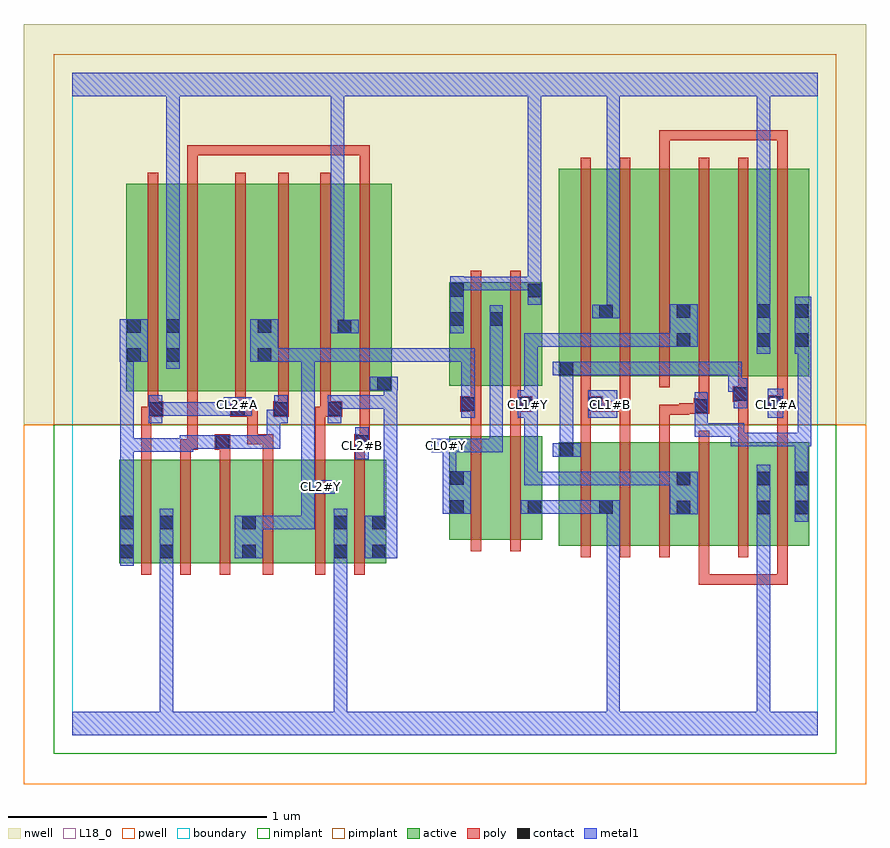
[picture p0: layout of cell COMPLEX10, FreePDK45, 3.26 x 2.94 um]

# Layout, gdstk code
import gdstk
lib = gdstk.Library(unit=1e-6, precision=1e-09)
def R(c, l, rs):  # rectangles x0, y0, x1, y1
    for r in rs: c.add(gdstk.rectangle(r[:2], r[2:], *l))
def A(c, l, x, y, w, h, nx, ny, dx, dy):  # array of equal rectangles
    R(c, l, [(x+i*dx, y+j*dy, x+i*dx+w, y+j*dy+h) for i in range(nx) for j in range(ny)])
active = (1, 0)
pwell = (2, 0)
nwell = (3, 0)
nimplant = (4, 0)
pimplant = (5, 0)
poly = (9, 0)
contact = (10, 0)
metal1 = (11, 0)
L18_0 = (18, 0)
boundary = (235, 0)

complex10 = lib.new_cell('COMPLEX10')
R(complex10, active, [(0.182,0.664,0.242,1.064), (0.182,0.664,0.394,1.064), (0.334,0.664,0.514,1.064), (0.334,0.664,0.394,0.852), (0.514,0.664,0.712,1.064), (0.652,0.664,0.712,1.064), (0.652,0.664,0.882,1.064), (0.882,0.664,1.066,1.064), (1.006,0.664,1.066,1.064), (1.006,0.664,1.214,1.064), (1.154,0.664,1.214,1.064), (1.88,0.732,2.092,1.132), (2.032,0.732,2.212,1.132), (2.032,0.732,2.092,0.936), (2.212,0.732,2.392,1.132), (2.332,0.732,2.516,1.132), (2.332,0.732,2.392,1.022), (2.516,0.732,2.7,1.132), (2.64,0.732,2.848,1.132), (2.788,0.732,2.848,1.132), (1.456,0.756,1.516,1.156), (1.456,0.756,1.636,1.156), (1.636,0.756,1.816,1.156), (1.756,0.756,1.816,0.948), (1.88,0.756,1.94,1.132), (2.64,0.756,2.7,1.022), (0.208,1.33,0.42,2.13), (0.208,1.33,0.268,2.044), (0.36,1.33,0.54,2.13), (0.36,1.33,0.42,2.13), (0.54,1.33,0.772,2.13), (0.712,1.33,0.892,2.13), (0.712,1.33,0.772,2.044), (0.892,1.33,1.082,2.13), (1.022,1.33,1.234,2.13), (1.174,1.33,1.234,2.044), (1.456,1.35,1.668,1.75), (1.608,1.35,1.816,1.75), (1.88,1.388,1.94,2.044), (1.88,1.388,2.092,2.188), (2.032,1.388,2.212,2.188), (2.212,1.388,2.392,2.188), (2.332,1.388,2.392,2.044), (2.332,1.388,2.516,2.188), (2.516,1.388,2.7,2.188), (2.64,1.388,2.848,2.188), (2.788,1.388,2.848,2.044), (1.022,1.432,1.082,2.044), (1.456,1.452,1.516,1.75), (1.756,1.452,1.816,1.748), (2.64,1.454,2.7,2.044), (2.032,1.466,2.092,2.044), (1.608,1.578,1.668,1.644)])
R(complex10, pwell, [(-0.188,-0.188,3.068,1.2)])
R(complex10, nwell, [(-0.188,1.2,3.068,2.748)])
R(complex10, nimplant, [(-0.072,-0.072,2.952,1.2)])
R(complex10, pimplant, [(-0.072,1.2,2.952,2.632)])
A(complex10, poly, 0.266, 0.62, 0.04, 0.488, 3, 1, 0.152, 0)
A(complex10, poly, 1.964, 0.688, 0.04, 0.488, 6, 1, 0.152, 0)
A(complex10, poly, 1.964, 1.344, 0.04, 0.888, 6, 1, 0.152, 0)
R(complex10, poly, [(2.42,0.582,2.46,0.728), (2.42,0.582,2.46,0.622), (2.42,0.582,2.624,0.622), (2.584,0.582,2.624,0.622), (2.584,0.582,2.624,0.622), (2.584,0.582,2.624,0.622), (2.584,0.582,2.764,0.622), (2.724,0.582,2.764,0.728), (2.724,0.582,2.764,0.622), (2.724,0.582,2.764,0.622), (2.724,0.582,2.764,0.622), (0.736,0.62,0.776,1.108), (0.938,0.62,0.978,1.108), (1.09,0.62,1.13,1.108), (1.54,0.712,1.58,1.2), (1.692,0.712,1.732,1.2), (0.266,1.068,0.306,1.27), (0.418,1.068,0.458,1.144), (0.57,1.068,0.61,1.144), (0.736,1.068,0.776,1.164), (0.938,1.068,0.978,1.27), (1.09,1.068,1.13,1.144), (0.418,1.104,0.458,1.144), (0.418,1.104,0.458,1.144), (0.418,1.104,0.484,1.144), (0.444,1.104,0.484,1.326), (0.55,1.104,0.61,1.164), (1.09,1.104,1.15,1.164), (0.676,1.124,0.716,1.27), (0.676,1.124,0.716,1.164), (0.676,1.124,0.776,1.164), (0.736,1.124,0.776,1.164), (1.11,1.124,1.15,1.164), (1.11,1.124,1.15,1.164), (1.11,1.124,1.15,1.326), (1.964,1.136,2.004,1.29), (2.116,1.136,2.156,1.29), (2.268,1.136,2.308,1.278), (2.572,1.136,2.612,1.328), (2.724,1.136,2.764,1.294), (1.54,1.16,1.58,1.29), (1.692,1.16,1.732,1.29), (0.266,1.23,0.332,1.27), (0.292,1.23,0.332,1.27), (0.292,1.23,0.352,1.29), (0.61,1.23,0.67,1.29), (0.63,1.23,0.716,1.27), (0.676,1.23,0.716,1.27), (0.776,1.23,0.836,1.29), (0.938,1.23,0.998,1.27), (0.958,1.23,0.998,1.27), (0.958,1.23,1.044,1.29), (2.268,1.238,2.308,1.278), (2.268,1.238,2.384,1.278), (2.344,1.238,2.384,1.282), (2.344,1.242,2.44,1.282), (2.4,1.242,2.46,1.302), (0.292,1.25,0.332,1.326), (0.63,1.25,0.67,1.326), (0.796,1.25,0.836,1.326), (0.958,1.25,0.998,1.326), (1.498,1.25,1.58,1.31), (1.54,1.25,1.58,1.29), (1.54,1.25,1.58,1.29), (1.692,1.25,1.778,1.31), (1.964,1.25,2.05,1.31), (2.01,1.25,2.156,1.29), (2.116,1.25,2.156,1.29), (2.116,1.25,2.156,1.29), (2.116,1.25,2.156,1.29), (2.116,1.25,2.156,1.29), (2.116,1.25,2.156,1.29), (2.116,1.25,2.156,1.384), (2.69,1.254,2.764,1.314), (2.724,1.254,2.764,1.294), (2.724,1.254,2.764,1.294), (2.42,1.262,2.46,1.302), (2.42,1.262,2.46,1.302), (2.42,1.262,2.46,1.384), (1.54,1.27,1.58,1.346), (1.692,1.27,1.732,1.31), (1.692,1.27,1.732,1.31), (1.692,1.27,1.732,1.346), (1.964,1.27,2.004,1.31), (1.964,1.27,2.004,1.31), (1.964,1.27,2.004,1.384), (2.724,1.274,2.764,1.384), (0.292,1.286,0.332,2.174), (0.444,1.286,0.484,2.174), (0.63,1.286,0.67,2.174), (0.796,1.286,0.836,2.174), (0.958,1.286,0.998,2.174), (1.11,1.286,1.15,2.174), (2.552,1.288,2.612,1.348), (2.572,1.288,2.612,1.328), (2.572,1.288,2.612,1.328), (1.54,1.306,1.58,1.794), (1.692,1.306,1.732,1.794), (2.572,1.308,2.612,1.384), (0.444,2.134,0.484,2.28), (1.11,2.134,1.15,2.28), (2.268,2.192,2.308,2.338), (2.724,2.192,2.764,2.338), (0.444,2.24,0.484,2.28), (0.444,2.24,0.484,2.28), (0.444,2.24,0.484,2.28), (0.444,2.24,0.67,2.28), (0.63,2.24,0.67,2.28), (0.63,2.24,0.67,2.28), (0.63,2.24,0.67,2.28), (0.63,2.24,0.822,2.28), (0.782,2.24,0.822,2.28), (0.782,2.24,0.822,2.28), (0.782,2.24,0.822,2.28), (0.782,2.24,1.024,2.28), (0.984,2.24,1.024,2.28), (0.984,2.24,1.15,2.28), (1.11,2.24,1.15,2.28), (1.11,2.24,1.15,2.28), (1.11,2.24,1.15,2.28), (2.268,2.298,2.308,2.338), (2.268,2.298,2.308,2.338), (2.268,2.298,2.308,2.338), (2.268,2.298,2.414,2.338), (2.374,2.298,2.414,2.338), (2.374,2.298,2.566,2.338), (2.526,2.298,2.566,2.338), (2.526,2.298,2.566,2.338), (2.526,2.298,2.566,2.338), (2.526,2.298,2.764,2.338), (2.724,2.298,2.764,2.338), (2.724,2.298,2.764,2.338), (2.724,2.298,2.764,2.338)])
R(complex10, contact, [(0.186,0.684,0.238,0.736), (0.338,0.684,0.39,0.736), (0.656,0.684,0.708,0.736), (1.01,0.684,1.062,0.736), (1.158,0.684,1.21,0.736), (0.186,0.796,0.238,0.848), (0.338,0.796,0.39,0.848), (0.656,0.796,0.708,0.848), (1.01,0.796,1.062,0.848), (1.158,0.796,1.21,0.848), (2.336,0.854,2.388,0.906), (2.644,0.854,2.696,0.906), (2.792,0.854,2.844,0.906), (1.46,0.856,1.512,0.908), (1.76,0.856,1.812,0.908), (2.036,0.856,2.088,0.908), (2.336,0.966,2.388,1.018), (2.644,0.966,2.696,1.018), (2.792,0.966,2.844,1.018), (1.46,0.968,1.512,1.02), (1.884,1.076,1.936,1.128), (0.554,1.108,0.606,1.16), (1.094,1.108,1.146,1.16), (0.296,1.234,0.348,1.286), (0.614,1.234,0.666,1.286), (0.78,1.234,0.832,1.286), (0.988,1.234,1.04,1.286), (2.404,1.246,2.456,1.298), (1.502,1.254,1.554,1.306), (1.722,1.254,1.774,1.306), (1.994,1.254,2.046,1.306), (2.694,1.258,2.746,1.31), (2.556,1.292,2.608,1.344), (1.178,1.334,1.23,1.386), (1.884,1.392,1.936,1.444), (0.212,1.444,0.264,1.496), (0.364,1.444,0.416,1.496), (0.716,1.444,0.768,1.496), (2.336,1.502,2.388,1.554), (2.644,1.502,2.696,1.554), (2.792,1.502,2.844,1.554), (1.026,1.554,1.078,1.606), (0.212,1.556,0.264,1.608), (0.364,1.556,0.416,1.608), (0.716,1.556,0.768,1.608), (1.46,1.582,1.512,1.634), (1.612,1.582,1.664,1.634), (2.036,1.612,2.088,1.664), (2.336,1.614,2.388,1.666), (2.644,1.614,2.696,1.666), (2.792,1.614,2.844,1.666), (1.76,1.692,1.812,1.744), (1.46,1.694,1.512,1.746)])
R(complex10, metal1, [(0,0,2.88,0.092), (0.338,0.04,0.39,0.708), (1.01,0.04,1.062,0.092), (1.01,0.04,1.062,0.092), (1.01,0.04,1.062,0.092), (1.01,0.04,1.062,0.092), (1.01,0.04,1.062,0.092), (1.01,0.04,1.062,0.092), (1.01,0.04,1.062,0.092), (1.01,0.04,1.062,0.092), (1.01,0.04,1.062,0.092), (1.01,0.04,1.062,0.092), (1.01,0.04,1.062,0.092), (1.01,0.04,1.062,0.092), (1.01,0.04,1.062,0.708), (2.064,0.04,2.116,0.092), (2.064,0.04,2.116,0.092), (2.064,0.04,2.116,0.092), (2.064,0.04,2.116,0.092), (2.064,0.04,2.116,0.092), (2.064,0.04,2.116,0.092), (2.064,0.04,2.116,0.092), (2.064,0.04,2.116,0.092), (2.064,0.04,2.116,0.908), (2.644,0.04,2.696,0.092), (2.644,0.04,2.696,0.092), (2.644,0.04,2.696,0.092), (2.644,0.04,2.696,0.092), (2.644,0.04,2.696,0.092), (2.644,0.04,2.696,0.092), (2.644,0.04,2.696,0.092), (2.644,0.04,2.696,0.092), (2.644,0.04,2.696,0.878), (0.186,0.656,0.238,0.876), (0.338,0.656,0.39,0.708), (0.338,0.656,0.39,0.708), (0.338,0.656,0.39,0.708), (0.338,0.656,0.39,0.708), (0.338,0.656,0.39,0.708), (0.338,0.656,0.39,0.708), (0.338,0.656,0.39,0.708), (0.338,0.656,0.39,0.708), (0.338,0.656,0.39,0.708), (0.338,0.656,0.39,0.708), (0.338,0.656,0.39,0.708), (0.338,0.656,0.39,0.708), (0.338,0.656,0.39,0.876), (1.01,0.656,1.062,0.876), (0.628,0.684,0.736,0.848), (1.13,0.684,1.256,0.848), (0.684,0.796,0.926,0.848), (0.874,0.796,0.926,0.848), (0.874,0.796,0.936,0.848), (0.884,0.796,0.936,0.848), (0.884,0.796,0.936,0.986), (1.204,0.796,1.256,1.314), (0.186,0.824,0.238,1.148), (2.644,0.826,2.696,0.878), (2.644,0.826,2.696,0.878), (2.644,0.826,2.696,0.878), (2.644,0.826,2.696,0.878), (2.644,0.826,2.696,1.046), (2.792,0.826,2.844,1.046), (2.308,0.854,2.416,1.018), (1.432,0.856,1.54,1.02), (1.732,0.856,1.84,0.908), (1.788,0.856,1.95,0.908), (1.898,0.856,1.95,0.908), (1.898,0.856,1.95,0.908), (1.898,0.856,1.95,0.908), (1.898,0.856,2.06,0.908), (2.008,0.856,2.116,0.908), (2.064,0.856,2.116,0.908), (2.064,0.856,2.116,0.908), (2.064,0.856,2.116,0.908), (2.064,0.856,2.116,0.908), (0.884,0.934,0.936,1.496), (0.884,0.934,1.014,0.986), (1.746,0.966,1.798,1.018), (1.746,0.966,1.798,1.018), (1.746,0.966,1.798,1.018), (1.746,0.966,1.95,1.018), (1.746,0.966,1.798,1.334), (1.898,0.966,1.95,1.018), (1.898,0.966,1.95,1.018), (1.898,0.966,1.95,1.018), (1.898,0.966,2.074,1.018), (2.022,0.966,2.074,1.018), (2.022,0.966,2.074,1.018), (2.022,0.966,2.074,1.018), (2.022,0.966,2.074,1.018), (2.022,0.966,2.074,1.018), (2.022,0.966,2.236,1.018), (2.184,0.966,2.236,1.018), (2.184,0.966,2.236,1.018), (2.184,0.966,2.236,1.018), (2.184,0.966,2.36,1.018), (1.432,0.968,1.484,1.146), (2.792,0.994,2.844,1.168), (1.094,1.066,1.146,1.19), (1.856,1.076,1.964,1.128), (1.884,1.076,1.936,1.444), (1.386,1.094,1.494,1.146), (1.442,1.094,1.494,1.146), (1.442,1.094,1.494,1.146), (1.442,1.094,1.664,1.146), (1.612,1.094,1.664,1.146), (1.612,1.094,1.664,1.146), (1.612,1.094,1.664,1.146), (1.612,1.094,1.664,1.606), (0.186,1.096,0.238,1.148), (0.186,1.096,0.238,1.148), (0.186,1.096,0.238,1.148), (0.186,1.096,0.348,1.148), (0.186,1.096,0.238,1.496), (0.296,1.096,0.348,1.148), (0.296,1.096,0.348,1.148), (0.296,1.096,0.348,1.148), (0.296,1.096,0.468,1.148), (0.416,1.096,0.468,1.16), (0.416,1.108,0.468,1.16), (0.416,1.108,0.468,1.16), (0.416,1.108,0.578,1.16), (0.526,1.108,0.634,1.16), (0.582,1.108,0.804,1.16), (0.752,1.108,0.804,1.16), (0.752,1.108,0.804,1.258), (2.544,1.116,2.696,1.168), (2.544,1.116,2.596,1.206), (2.644,1.116,2.696,1.168), (2.644,1.116,2.844,1.168), (2.792,1.116,2.844,1.168), (2.792,1.116,2.844,1.168), (2.792,1.116,2.854,1.168), (2.802,1.116,2.854,1.526), (2.802,1.116,2.854,1.168), (2.802,1.116,2.854,1.168), (2.404,1.154,2.456,1.27), (2.404,1.154,2.596,1.206), (0.296,1.206,0.348,1.314), (0.752,1.206,0.804,1.258), (0.752,1.206,0.832,1.258), (0.78,1.206,0.832,1.314), (0.988,1.206,1.04,1.314), (2.404,1.218,2.456,1.27), (2.404,1.218,2.456,1.326), (1.502,1.226,1.554,1.334), (1.722,1.226,1.786,1.334), (1.994,1.226,2.106,1.334), (2.686,1.226,2.746,1.338), (0.296,1.234,0.348,1.286), (0.296,1.234,0.348,1.286), (0.296,1.234,0.458,1.286), (0.406,1.234,0.458,1.286), (0.406,1.234,0.458,1.286), (0.406,1.234,0.458,1.286), (0.406,1.234,0.638,1.286), (0.586,1.234,0.694,1.306), (0.988,1.262,1.046,1.314), (0.994,1.262,1.046,1.314), (0.994,1.262,1.256,1.314), (1.204,1.262,1.256,1.314), (1.204,1.262,1.256,1.314), (1.204,1.262,1.256,1.314), (1.204,1.262,1.256,1.314), (1.204,1.262,1.256,1.314), (1.204,1.262,1.256,1.386), (2.556,1.264,2.608,1.38), (1.502,1.282,1.554,1.334), (1.502,1.282,1.554,1.334), (1.502,1.282,1.554,1.334), (1.502,1.282,1.554,1.334), (1.502,1.282,1.554,1.496), (1.734,1.282,1.798,1.334), (1.746,1.282,1.798,1.334), (1.746,1.282,1.798,1.554), (2.534,1.328,2.608,1.38), (2.534,1.328,2.586,1.444), (1.15,1.334,1.258,1.386), (1.856,1.392,1.964,1.444), (1.884,1.392,1.936,1.444), (1.884,1.392,1.936,1.444), (1.884,1.392,1.936,1.444), (1.884,1.392,1.936,1.444), (1.884,1.392,1.95,1.444), (1.898,1.392,1.95,1.444), (1.898,1.392,2.074,1.444), (2.022,1.392,2.074,1.444), (2.022,1.392,2.074,1.444), (2.022,1.392,2.074,1.444), (2.022,1.392,2.236,1.444), (2.184,1.392,2.236,1.444), (2.184,1.392,2.236,1.444), (2.184,1.392,2.236,1.444), (2.184,1.392,2.346,1.444), (2.294,1.392,2.346,1.444), (2.294,1.392,2.346,1.444), (2.294,1.392,2.346,1.444), (2.294,1.392,2.586,1.444), (0.364,1.416,0.416,1.636), (0.184,1.444,0.292,1.608), (0.688,1.444,0.796,1.608), (0.744,1.444,0.926,1.496), (0.874,1.444,0.926,1.496), (0.874,1.444,0.936,1.496), (0.884,1.444,0.936,1.496), (0.884,1.444,0.936,1.496), (0.884,1.444,0.936,1.496), (0.884,1.444,1.036,1.496), (0.984,1.444,1.036,1.496), (0.984,1.444,1.046,1.496), (0.994,1.444,1.046,1.496), (0.994,1.444,1.046,1.496), (0.994,1.444,1.046,1.496), (0.994,1.444,1.328,1.496), (1.276,1.444,1.328,1.496), (1.276,1.444,1.328,1.496), (1.276,1.444,1.328,1.496), (1.276,1.444,1.554,1.496), (1.502,1.444,1.554,1.496), (2.644,1.474,2.696,1.694), (2.792,1.474,2.854,1.694), (1.746,1.502,1.798,1.554), (1.746,1.502,1.798,1.554), (1.746,1.502,1.798,1.554), (1.746,1.502,1.798,1.554), (1.746,1.502,1.798,1.554), (1.746,1.502,1.95,1.554), (1.898,1.502,1.95,1.554), (1.898,1.502,1.95,1.554), (1.898,1.502,1.95,1.554), (1.898,1.502,2.126,1.554), (2.074,1.502,2.126,1.554), (2.074,1.502,2.126,1.554), (2.074,1.502,2.126,1.554), (2.074,1.502,2.126,1.554), (2.074,1.502,2.126,1.554), (2.074,1.502,2.236,1.554), (2.184,1.502,2.236,1.554), (2.184,1.502,2.236,1.554), (2.184,1.502,2.236,1.554), (2.184,1.502,2.36,1.554), (2.308,1.502,2.416,1.666), (0.998,1.554,1.05,1.606), (0.998,1.554,1.05,1.606), (0.998,1.554,1.05,1.606), (0.998,1.554,1.05,1.606), (0.998,1.554,1.106,1.606), (0.998,1.554,1.05,2.52), (1.46,1.554,1.512,1.774), (1.612,1.554,1.664,1.662), (0.364,1.584,0.416,2.52), (2.008,1.612,2.116,1.664), (2.064,1.612,2.116,2.52), (2.644,1.642,2.696,1.694), (2.644,1.642,2.696,1.694), (2.644,1.642,2.696,2.52), (1.76,1.664,1.812,1.772), (1.46,1.72,1.664,1.772), (1.612,1.72,1.664,1.772), (1.612,1.72,1.664,1.772), (1.612,1.72,1.664,1.772), (1.612,1.72,1.798,1.772), (1.746,1.72,1.798,1.772), (1.746,1.72,1.812,1.772), (1.76,1.72,1.812,1.772), (1.76,1.72,1.812,1.772), (1.76,1.72,1.812,1.772), (1.76,1.72,1.812,1.772), (1.76,1.72,1.812,1.772), (1.76,1.72,1.812,1.772), (1.76,1.72,1.812,1.772), (1.76,1.72,1.812,1.772), (1.76,1.72,1.812,2.52), (0,2.468,2.88,2.56), (0.364,2.468,0.416,2.52), (0.364,2.468,0.416,2.52), (0.364,2.468,0.416,2.52), (0.364,2.468,0.416,2.52), (0.364,2.468,0.416,2.52), (0.364,2.468,0.416,2.52), (0.364,2.468,0.416,2.52), (0.364,2.468,0.416,2.52), (0.998,2.468,1.05,2.52), (0.998,2.468,1.05,2.52), (0.998,2.468,1.05,2.52), (0.998,2.468,1.05,2.52), (1.76,2.468,1.812,2.52), (1.76,2.468,1.812,2.52), (1.76,2.468,1.812,2.52), (1.76,2.468,1.812,2.52), (1.76,2.468,1.812,2.52), (1.76,2.468,1.812,2.52), (1.76,2.468,1.812,2.52), (1.76,2.468,1.812,2.52), (2.064,2.468,2.116,2.52), (2.064,2.468,2.116,2.52), (2.064,2.468,2.116,2.52), (2.064,2.468,2.116,2.52), (2.064,2.468,2.116,2.52), (2.064,2.468,2.116,2.52), (2.064,2.468,2.116,2.52), (2.064,2.468,2.116,2.52), (2.644,2.468,2.696,2.52), (2.644,2.468,2.696,2.52), (2.644,2.468,2.696,2.52), (2.644,2.468,2.696,2.52), (2.644,2.468,2.696,2.52), (2.644,2.468,2.696,2.52)])
R(complex10, L18_0, [(0,0,2.88,0.092), (0.338,0.04,0.39,0.708), (1.01,0.04,1.062,0.092), (1.01,0.04,1.062,0.092), (1.01,0.04,1.062,0.092), (1.01,0.04,1.062,0.092), (1.01,0.04,1.062,0.092), (1.01,0.04,1.062,0.092), (1.01,0.04,1.062,0.092), (1.01,0.04,1.062,0.092), (1.01,0.04,1.062,0.092), (1.01,0.04,1.062,0.092), (1.01,0.04,1.062,0.092), (1.01,0.04,1.062,0.092), (1.01,0.04,1.062,0.708), (2.064,0.04,2.116,0.092), (2.064,0.04,2.116,0.092), (2.064,0.04,2.116,0.092), (2.064,0.04,2.116,0.092), (2.064,0.04,2.116,0.092), (2.064,0.04,2.116,0.092), (2.064,0.04,2.116,0.092), (2.064,0.04,2.116,0.092), (2.064,0.04,2.116,0.908), (2.644,0.04,2.696,0.092), (2.644,0.04,2.696,0.092), (2.644,0.04,2.696,0.092), (2.644,0.04,2.696,0.092), (2.644,0.04,2.696,0.092), (2.644,0.04,2.696,0.092), (2.644,0.04,2.696,0.092), (2.644,0.04,2.696,0.092), (2.644,0.04,2.696,0.878), (0.338,0.656,0.39,0.708), (0.338,0.656,0.39,0.708), (0.338,0.656,0.39,0.708), (0.338,0.656,0.39,0.708), (0.338,0.656,0.39,0.708), (0.338,0.656,0.39,0.708), (0.338,0.656,0.39,0.708), (0.338,0.656,0.39,0.708), (0.338,0.656,0.39,0.708), (0.338,0.656,0.39,0.708), (0.338,0.656,0.39,0.708), (0.338,0.656,0.39,0.708), (0.338,0.656,0.39,0.876), (1.01,0.656,1.062,0.876), (0.628,0.684,0.736,0.848), (0.684,0.796,0.926,0.848), (0.874,0.796,0.926,0.848), (0.874,0.796,0.936,0.848), (0.884,0.796,0.936,0.848), (0.884,0.796,0.936,0.986), (2.644,0.826,2.696,0.878), (2.644,0.826,2.696,0.878), (2.644,0.826,2.696,0.878), (2.644,0.826,2.696,0.878), (2.644,0.826,2.696,1.046), (2.308,0.854,2.416,1.018), (1.432,0.856,1.54,1.02), (1.732,0.856,1.84,0.908), (1.788,0.856,1.95,0.908), (1.898,0.856,1.95,0.908), (1.898,0.856,1.95,0.908), (1.898,0.856,1.95,0.908), (1.898,0.856,2.06,0.908), (2.008,0.856,2.116,0.908), (2.064,0.856,2.116,0.908), (2.064,0.856,2.116,0.908), (2.064,0.856,2.116,0.908), (2.064,0.856,2.116,0.908), (0.884,0.934,1.014,0.986), (0.884,0.934,0.936,1.496), (0.934,0.934,0.986,0.986), (1.746,0.966,1.798,1.018), (1.746,0.966,1.798,1.018), (1.746,0.966,1.798,1.018), (1.746,0.966,1.95,1.018), (1.746,0.966,1.798,1.334), (1.898,0.966,1.95,1.018), (1.898,0.966,1.95,1.018), (1.898,0.966,1.95,1.018), (1.898,0.966,2.074,1.018), (2.022,0.966,2.074,1.018), (2.022,0.966,2.074,1.018), (2.022,0.966,2.074,1.018), (2.022,0.966,2.074,1.018), (2.022,0.966,2.074,1.018), (2.022,0.966,2.236,1.018), (2.184,0.966,2.236,1.018), (2.184,0.966,2.236,1.018), (2.184,0.966,2.236,1.018), (2.184,0.966,2.36,1.018), (1.432,0.968,1.484,1.146), (1.094,1.066,1.146,1.19), (1.094,1.094,1.146,1.146), (1.386,1.094,1.494,1.146), (1.414,1.094,1.466,1.146), (1.442,1.094,1.494,1.146), (1.442,1.094,1.494,1.146), (1.442,1.094,1.664,1.146), (1.612,1.094,1.664,1.146), (1.612,1.094,1.664,1.146), (1.612,1.094,1.664,1.146), (1.612,1.094,1.664,1.606), (0.296,1.206,0.348,1.314), (1.502,1.226,1.554,1.334), (1.722,1.226,1.786,1.334), (1.994,1.226,2.106,1.334), (2.686,1.226,2.746,1.338), (0.296,1.234,0.348,1.286), (0.296,1.234,0.348,1.286), (0.296,1.234,0.458,1.286), (0.406,1.234,0.458,1.286), (0.406,1.234,0.458,1.286), (0.406,1.234,0.458,1.286), (0.406,1.234,0.638,1.286), (0.586,1.234,0.694,1.306), (0.614,1.254,0.666,1.306), (1.734,1.254,1.786,1.306), (2.054,1.254,2.106,1.306), (2.694,1.254,2.746,1.306), (1.502,1.282,1.554,1.334), (1.502,1.282,1.554,1.334), (1.502,1.282,1.554,1.334), (1.502,1.282,1.554,1.334), (1.502,1.282,1.554,1.496), (1.734,1.282,1.798,1.334), (1.746,1.282,1.798,1.334), (1.746,1.282,1.798,1.554), (0.364,1.416,0.416,1.636), (0.688,1.444,0.796,1.608), (0.744,1.444,0.926,1.496), (0.874,1.444,0.926,1.496), (0.874,1.444,0.936,1.496), (0.884,1.444,0.936,1.496), (0.884,1.444,0.936,1.496), (0.884,1.444,0.936,1.496), (0.884,1.444,1.036,1.496), (0.984,1.444,1.036,1.496), (0.984,1.444,1.046,1.496), (0.994,1.444,1.046,1.496), (0.994,1.444,1.046,1.496), (0.994,1.444,1.046,1.496), (0.994,1.444,1.328,1.496), (1.276,1.444,1.328,1.496), (1.276,1.444,1.328,1.496), (1.276,1.444,1.328,1.496), (1.276,1.444,1.554,1.496), (1.502,1.444,1.554,1.496), (2.644,1.474,2.696,1.694), (1.746,1.502,1.798,1.554), (1.746,1.502,1.798,1.554), (1.746,1.502,1.798,1.554), (1.746,1.502,1.798,1.554), (1.746,1.502,1.798,1.554), (1.746,1.502,1.95,1.554), (1.898,1.502,1.95,1.554), (1.898,1.502,1.95,1.554), (1.898,1.502,1.95,1.554), (1.898,1.502,2.126,1.554), (2.074,1.502,2.126,1.554), (2.074,1.502,2.126,1.554), (2.074,1.502,2.126,1.554), (2.074,1.502,2.126,1.554), (2.074,1.502,2.126,1.554), (2.074,1.502,2.236,1.554), (2.184,1.502,2.236,1.554), (2.184,1.502,2.236,1.554), (2.184,1.502,2.236,1.554), (2.184,1.502,2.36,1.554), (2.308,1.502,2.416,1.666), (0.998,1.554,1.05,1.606), (0.998,1.554,1.05,1.606), (0.998,1.554,1.05,1.606), (0.998,1.554,1.05,1.606), (0.998,1.554,1.106,1.606), (0.998,1.554,1.05,2.52), (1.46,1.554,1.512,1.774), (1.612,1.554,1.664,1.662), (0.364,1.584,0.416,2.52), (2.008,1.612,2.116,1.664), (2.064,1.612,2.116,2.52), (2.644,1.642,2.696,1.694), (2.644,1.642,2.696,1.694), (2.644,1.642,2.696,2.52), (1.76,1.664,1.812,1.772), (1.46,1.72,1.664,1.772), (1.612,1.72,1.664,1.772), (1.612,1.72,1.664,1.772), (1.612,1.72,1.664,1.772), (1.612,1.72,1.798,1.772), (1.746,1.72,1.798,1.772), (1.746,1.72,1.812,1.772), (1.76,1.72,1.812,1.772), (1.76,1.72,1.812,1.772), (1.76,1.72,1.812,1.772), (1.76,1.72,1.812,1.772), (1.76,1.72,1.812,1.772), (1.76,1.72,1.812,1.772), (1.76,1.72,1.812,1.772), (1.76,1.72,1.812,1.772), (1.76,1.72,1.812,2.52), (0,2.468,2.88,2.56), (0.364,2.468,0.416,2.52), (0.364,2.468,0.416,2.52), (0.364,2.468,0.416,2.52), (0.364,2.468,0.416,2.52), (0.364,2.468,0.416,2.52), (0.364,2.468,0.416,2.52), (0.364,2.468,0.416,2.52), (0.364,2.468,0.416,2.52), (0.998,2.468,1.05,2.52), (0.998,2.468,1.05,2.52), (0.998,2.468,1.05,2.52), (0.998,2.468,1.05,2.52), (1.76,2.468,1.812,2.52), (1.76,2.468,1.812,2.52), (1.76,2.468,1.812,2.52), (1.76,2.468,1.812,2.52), (1.76,2.468,1.812,2.52), (1.76,2.468,1.812,2.52), (1.76,2.468,1.812,2.52), (1.76,2.468,1.812,2.52), (2.064,2.468,2.116,2.52), (2.064,2.468,2.116,2.52), (2.064,2.468,2.116,2.52), (2.064,2.468,2.116,2.52), (2.064,2.468,2.116,2.52), (2.064,2.468,2.116,2.52), (2.064,2.468,2.116,2.52), (2.064,2.468,2.116,2.52), (2.644,2.468,2.696,2.52), (2.644,2.468,2.696,2.52), (2.644,2.468,2.696,2.52), (2.644,2.468,2.696,2.52), (2.644,2.468,2.696,2.52), (2.644,2.468,2.696,2.52)])
R(complex10, boundary, [(0,0,2.88,2.56)])
complex10.add(gdstk.Label('CL0#Y', (1.44,1.12), layer=11, texttype=0))
complex10.add(gdstk.Label('CL1#A', (2.72,1.28), layer=11, texttype=0))
complex10.add(gdstk.Label('CL1#B', (2.08,1.28), layer=11, texttype=0))
complex10.add(gdstk.Label('CL1#Y', (1.76,1.28), layer=11, texttype=0))
complex10.add(gdstk.Label('CL2#A', (0.64,1.28), layer=11, texttype=0))
complex10.add(gdstk.Label('CL2#B', (1.12,1.12), layer=11, texttype=0))
complex10.add(gdstk.Label('CL2#Y', (0.96,0.96), layer=11, texttype=0))

lib.write_gds('COMPLEX10.gds')
